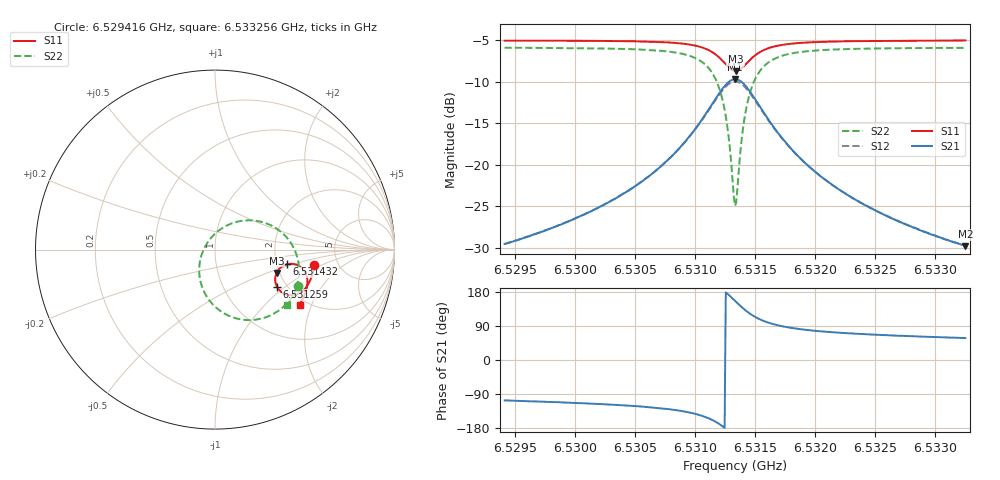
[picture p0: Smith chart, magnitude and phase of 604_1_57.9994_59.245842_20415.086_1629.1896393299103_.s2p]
#  HZ  S  RI  R  50.00
! Rohde & Schwarz Vector Network Analyzer
! Rohde-Schwarz,ZNB20-2Port,1311601062101988,3.16
! Created: UTC 3/21/2024, 1:17:20 AM
! freq[Hz]  re:S11  im:S11  re:S21  im:S21  re:S12  im:S12  re:S22  im:S22
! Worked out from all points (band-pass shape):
!   401 points, 6.529416 GHz to 6.533256 GHz, reference 50 ohm
!   highest |S21| = -9.68 dB at 6.531336 GHz (marker M1); lowest = -29.8 dB at 6.533256 GHz (marker M2)
!   |S21| within 3 dB of the highest: 6.531145 GHz to 6.531529 GHz (384 kHz wide, 0.00588 % of centre)
!   lowest |S11| = -8.7 dB at 6.531345 GHz (marker M3), VSWR 2.16, Z = 96.4 - j29.1 ohm
!   |S11| at or under -10 dB: nowhere
!   |S22| runs from -24.9 to -5.9 dB; largest |S21 - S12| = 0.013
!   S11 on the Smith chart (normalised r, x): 6.529416 GHz: 3.31, -0.85; 6.531259 GHz: 1.78, -0.88; 6.531432 GHz: 2.28, -0.45; 6.533256 GHz: 1.83, -1.64
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6.5294157e9  0.5536 -0.088  -0.00957 -0.0318  -0.0103 -0.0317  0.4651 -0.2044
6.530059e9  0.5411 -0.1423  -0.0201 -0.045  -0.0212 -0.0445  0.4301 -0.2642
6.530443e9  0.527 -0.179  -0.0352 -0.0599  -0.0367 -0.0591  0.391 -0.3099
6.5307022e9  0.5097 -0.2077  -0.0571 -0.0765  -0.0595 -0.0747  0.341 -0.3491
6.5309326e9  0.4786 -0.2379  -0.1033 -0.0963  -0.1061 -0.0925  0.249 -0.3865
6.5310959e9  0.4295 -0.2543  -0.1794 -0.0984  -0.1811 -0.0907  0.1111 -0.3813
6.5311919e9  0.3809 -0.2433  -0.2541 -0.0623  -0.2517 -0.0516  -0.0114 -0.3064
6.5312591e9  0.3459 -0.2082  -0.3035 0.00853  -0.2955 0.0185  -0.0808 -0.1788
6.5312879e9  0.3371 -0.1842  -0.3134 0.0525  -0.3026 0.0605  -0.088 -0.1048
6.5313263e9  0.3371 -0.148  -0.306 0.1167  -0.2936 0.1209  -0.0639 -0.00129
6.5313359e9  0.3395 -0.1393  -0.3001 0.1324  -0.2877 0.1354  -0.0517 0.0231
6.5313455e9  0.3429 -0.1304  -0.2927 0.1475  -0.2805 0.1492  -0.0369 0.046
6.5313551e9  0.3471 -0.1221  -0.2839 0.1615  -0.2718 0.1624  -0.0201 0.0676
6.5313935e9  0.3713 -0.0955  -0.2381 0.2064  -0.2281 0.2037  0.0625 0.1325
6.5314319e9  0.4007 -0.0817  -0.185 0.2292  -0.1779 0.2251  0.1537 0.1611
6.5314991e9  0.4472 -0.0823  -0.1042 0.2286  -0.1008 0.2249  0.2884 0.1452
6.5315951e9  0.4871 -0.1063  -0.0361 0.1928  -0.0345 0.1908  0.3978 0.0696
6.5317391e9  0.5097 -0.1445  0.00386 0.1414  0.00518 0.1406  0.4557 -0.0332
6.5319791e9  0.5148 -0.189  0.0198 0.0918  0.0209 0.0913  0.4678 -0.1355
6.5322767e9  0.508 -0.226  0.0218 0.0617  0.0226 0.0615  0.4552 -0.2041
6.5326224e9  0.4961 -0.2586  0.0202 0.0437  0.0211 0.0434  0.4361 -0.2527
6.533256e9  0.471 -0.3069  0.0172 0.0273  0.0179 0.0271  0.4009 -0.311
